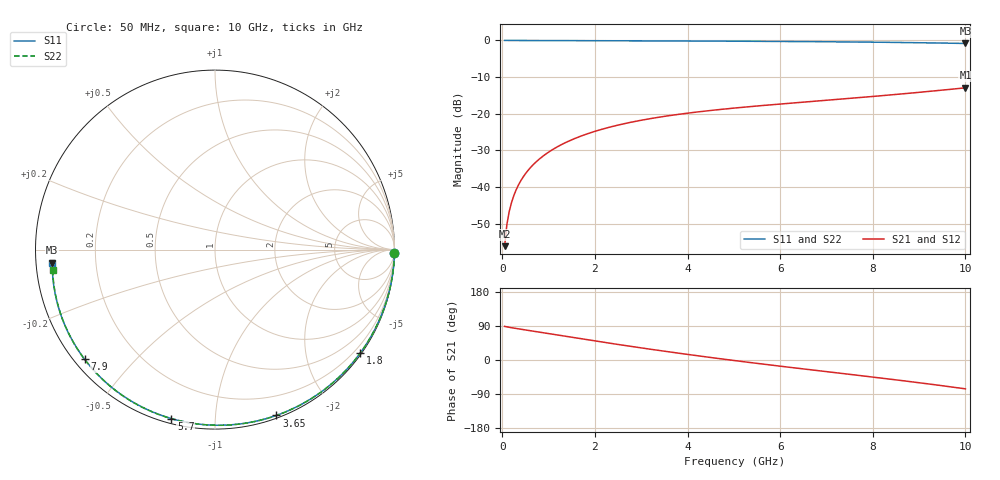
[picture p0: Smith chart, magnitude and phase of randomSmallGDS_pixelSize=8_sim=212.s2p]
! freq	dB(S11)	phase(S11)	dB(S12)	phase(S12)
!  dB(S21)	phase(S21)	dB(S22)	phase(S22)
!S-par simulation data
#  GHz  S  DB  R 50
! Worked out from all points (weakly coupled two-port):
!   200 points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, 50 MHz to 10 GHz, reference 50 ohm
!   highest |S21| = -12.93 dB at 10 GHz (marker M1); lowest = -56.2 dB at 50 MHz (marker M2)
!   lowest |S11| = -0.8 dB at 10 GHz (marker M3), VSWR 21.21, Z = 2.36 - j1.98 ohm
!   |S11| at or under -10 dB: nowhere
!   |S22| runs from -0.8 to 0.0 dB; largest |S21 - S12| = 0
!   S11 on the Smith chart (normalised r, x): 50 MHz: open; 1.8 GHz: 0.03, -3.13; 3.65 GHz: 0.02, -1.44; 5.7 GHz: 0.02, -0.77; 7.9 GHz: 0.03, -0.36; 10 GHz: 0.05, -0.04
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0.05  -0.00 -1.0  -56.15 88.7  -56.15 88.7  -0.00 -1.0
0.1  -0.00 -2.0  -50.16 87.4  -50.16 87.4  -0.00 -2.0
0.15  -0.00 -3.0  -46.67 86.2  -46.67 86.2  -0.00 -3.1
0.2  -0.00 -4.0  -44.21 85.2  -44.21 85.2  -0.00 -4.1
0.35  -0.01 -7.0  -39.43 82.2  -39.43 82.2  -0.01 -7.1
0.5  -0.01 -10.0  -36.38 79.3  -36.38 79.3  -0.01 -10.2
0.7  -0.02 -14.0  -33.50 75.4  -33.50 75.4  -0.02 -14.2
1  -0.03 -19.9  -30.48 69.6  -30.48 69.6  -0.03 -20.2
1.35  -0.04 -26.8  -27.97 62.8  -27.97 62.8  -0.04 -27.2
1.75  -0.05 -34.5  -25.86 55.1  -25.86 55.1  -0.06 -35.0
1.8  -0.06 -35.5  -25.64 54.1  -25.64 54.1  -0.06 -36.0
2.6  -0.09 -50.6  -22.81 39.2  -22.81 39.2  -0.09 -51.3
3.4  -0.12 -65.2  -20.91 24.9  -20.91 24.9  -0.12 -66.0
3.65  -0.13 -69.7  -20.44 20.6  -20.44 20.6  -0.13 -70.5
4.35  -0.16 -81.9  -19.32 9.0  -19.32 9.0  -0.16 -82.8
5.05  -0.20 -93.8  -18.41 -2.0  -18.41 -2.0  -0.20 -94.6
5.7  -0.24 -104.5  -17.67 -11.9  -17.67 -11.9  -0.24 -105.2
6.7  -0.32 -120.7  -16.64 -26.4  -16.64 -26.4  -0.32 -121.0
7.9  -0.45 -139.9  -15.40 -43.6  -15.40 -43.6  -0.45 -139.6
8.35  -0.51 -147.2  -14.91 -50.2  -14.91 -50.2  -0.51 -146.6
9.2  -0.65 -161.4  -13.92 -63.1  -13.92 -63.1  -0.64 -159.9
10  -0.82 -175.5  -12.93 -76.1  -12.93 -76.1  -0.80 -172.9
